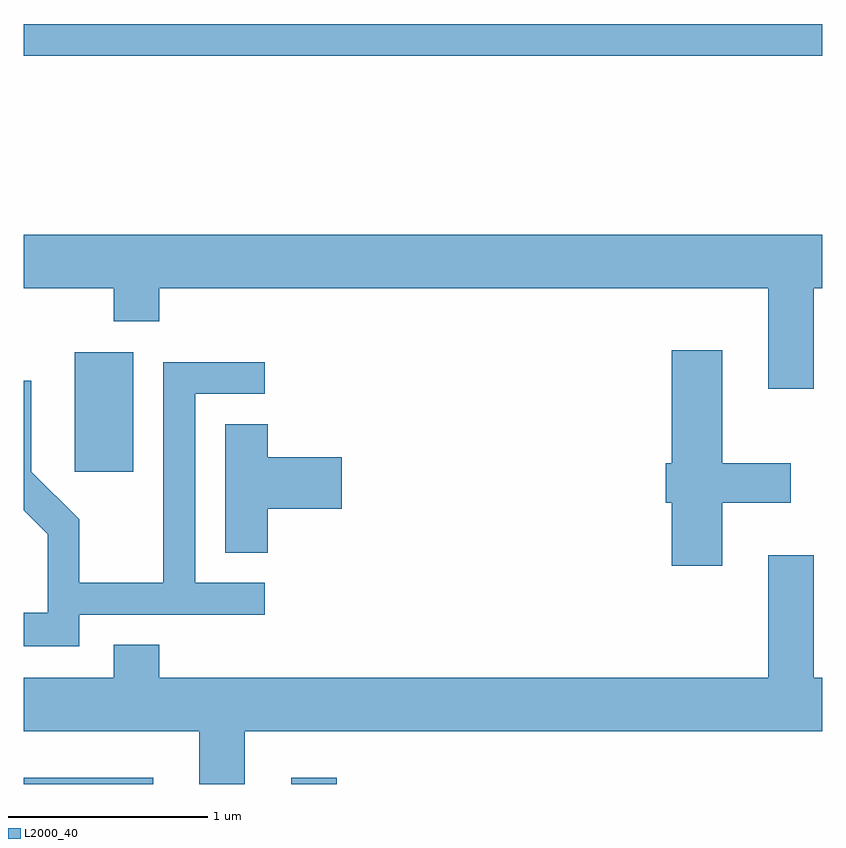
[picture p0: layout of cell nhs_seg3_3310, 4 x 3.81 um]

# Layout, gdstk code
import gdstk
lib = gdstk.Library(unit=1e-6, precision=1e-09)
def R(c, l, rs):  # rectangles x0, y0, x1, y1
    for r in rs: c.add(gdstk.rectangle(r[:2], r[2:], *l))
def P(c, l, *ps):  # polygons
    for p in ps: c.add(gdstk.Polygon(p, *l))
L2000_40 = (2000, 40)

nhs_seg3_3310 = lib.new_cell('nhs_seg3_3310')
R(nhs_seg3_3310, L2000_40, [(281.611,1207.892,282.259,1207.924), (282.951,1207.892,283.179,1207.924), (281.866,1209.456,282.159,1210.054), (281.611,1211.541,285.611,1211.699)])
P(nhs_seg3_3310, L2000_40, [(285.569,1210.376),(285.611,1210.376),(285.611,1210.644),(281.611,1210.644),(281.611,1210.376),(282.061,1210.376),(282.061,1210.211),(282.289,1210.211),(282.289,1210.376),(285.341,1210.376),(285.341,1209.871),(285.569,1209.871)],
  [(285.109,1209.301),(285.454,1209.301),(285.454,1209.499),(285.109,1209.499),(285.109,1210.064),(284.856,1210.064),(284.856,1209.499),(284.826,1209.499),(284.826,1209.301),(284.856,1209.301),(284.856,1208.986),(285.109,1208.986)],
  [(281.889,1208.741),(282.818,1208.741),(282.818,1208.899),(282.469,1208.899),(282.469,1209.846),(282.818,1209.846),(282.818,1210.004),(282.311,1210.004),(282.311,1208.899),(281.889,1208.899),(281.889,1209.217),(281.649,1209.457),(281.649,1209.913),(281.611,1209.913),(281.611,1209.264),(281.731,1209.144),(281.731,1208.749),(281.611,1208.749),(281.611,1208.581),(281.889,1208.581)],
  [(282.834,1209.271),(283.204,1209.271),(283.204,1209.529),(282.834,1209.529),(282.834,1209.694),(282.621,1209.694),(282.621,1209.051),(282.834,1209.051)],
  [(282.719,1208.156),(285.611,1208.156),(285.611,1208.424),(285.569,1208.424),(285.569,1209.039),(285.341,1209.039),(285.341,1208.424),(282.289,1208.424),(282.289,1208.589),(282.061,1208.589),(282.061,1208.424),(281.611,1208.424),(281.611,1208.156),(282.491,1208.156),(282.491,1207.892),(282.719,1207.892)])

lib.write_gds('nhs_seg3_3310.gds')
